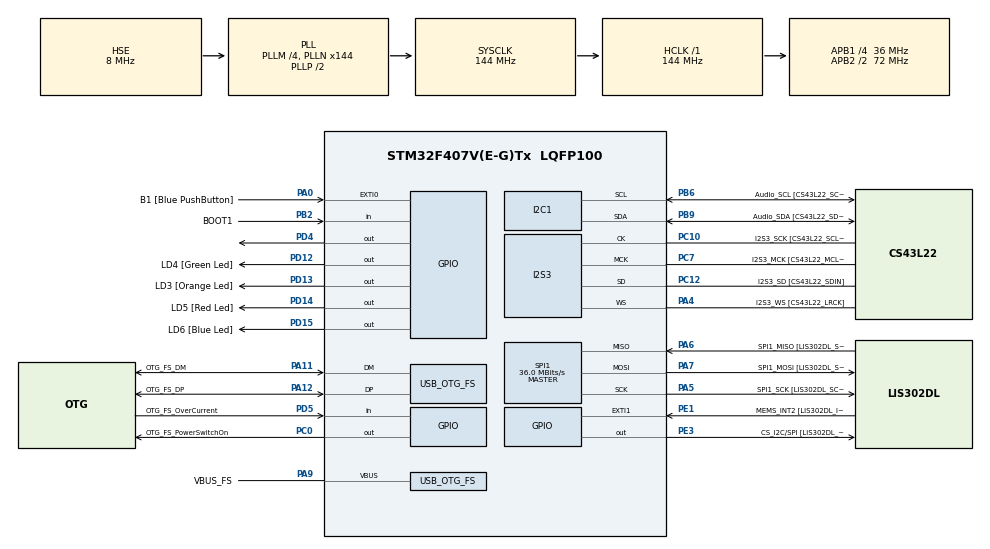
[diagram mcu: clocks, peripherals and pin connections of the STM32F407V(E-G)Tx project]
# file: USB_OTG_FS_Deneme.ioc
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Dma.Request0=SPI3_TX
Dma.SPI3_TX.0.Direction=DMA_MEMORY_TO_PERIPH
Dma.SPI3_TX.0.FIFOMode=DMA_FIFOMODE_ENABLE
Dma.SPI3_TX.0.FIFOThreshold=DMA_FIFO_THRESHOLD_FULL
Dma.SPI3_TX.0.Instance=DMA1_Stream5
Dma.SPI3_TX.0.MemBurst=DMA_MBURST_SINGLE
Dma.SPI3_TX.0.MemDataAlignment=DMA_MDATAALIGN_HALFWORD
Dma.SPI3_TX.0.MemInc=DMA_MINC_ENABLE
Dma.SPI3_TX.0.Mode=DMA_CIRCULAR
Dma.SPI3_TX.0.PeriphBurst=DMA_PBURST_SINGLE
Dma.SPI3_TX.0.PeriphDataAlignment=DMA_PDATAALIGN_HALFWORD
Dma.SPI3_TX.0.PeriphInc=DMA_PINC_DISABLE
Dma.SPI3_TX.0.Priority=DMA_PRIORITY_HIGH
I2S3.AudioFreq=I2S_AUDIOFREQ_48K
I2S3.AudioFreq-Half_Duplex_Master=I2S_AUDIOFREQ_96K
I2S3.ErrorAudioFreq=-0.01 %
I2S3.ErrorAudioFreq-Half_Duplex_Master=0.8 %
I2S3.FullDuplexMode=I2S_FULLDUPLEXMODE_DISABLE
I2S3.Instance=SPI$Index
I2S3.RealAudioFreq=47.991 KHz
I2S3.RealAudioFreq-Half_Duplex_Master=96.774 KHz
I2S3.VirtualMode=I2S_MODE_MASTER
Mcu.Family=STM32F4
Mcu.Name=STM32F407V(E-G)Tx
Mcu.Package=LQFP100
NVIC.DMA1_Stream5_IRQn=true\:0\:0\:false\:false\:true\:false\:true\:true
NVIC.OTG_FS_IRQn=true\:0\:0\:false\:false\:true\:true\:true\:true
NVIC.PriorityGroup=NVIC_PRIORITYGROUP_0
NVIC.SPI3_IRQn=true\:0\:0\:false\:false\:true\:true\:true\:true
PA0-WKUP.GPIO_Label=B1 [Blue PushButton]
PA0-WKUP.GPIO_ModeDefaultEXTI=GPIO_MODE_EVT_RISING
PA0-WKUP.GPIO_PuPd=GPIO_NOPULL
PA0-WKUP.Signal=GPXTI0
PA10.GPIO_Label=OTG_FS_ID
PA10.GPIO_Mode=GPIO_MODE_AF_PP
PA10.GPIO_PuPd=GPIO_NOPULL
PA10.GPIO_Speed=GPIO_SPEED_FREQ_LOW
PA10.Signal=USB_OTG_FS_ID
PA11.GPIO_Label=OTG_FS_DM
PA11.GPIO_Mode=GPIO_MODE_AF_PP
PA11.GPIO_PuPd=GPIO_NOPULL
PA11.GPIO_Speed=GPIO_SPEED_FREQ_LOW
PA11.Mode=Device_Only
PA11.Signal=USB_OTG_FS_DM
PA12.GPIO_Label=OTG_FS_DP
PA12.GPIO_Mode=GPIO_MODE_AF_PP
PA12.GPIO_PuPd=GPIO_NOPULL
PA12.GPIO_Speed=GPIO_SPEED_FREQ_LOW
PA12.Mode=Device_Only
PA12.Signal=USB_OTG_FS_DP
PA13.GPIO_Label=SWDIO
PA13.Mode=Serial_Wire
PA13.Signal=SYS_JTMS-SWDIO
PA14.GPIO_Label=SWCLK
PA14.Mode=Serial_Wire
PA14.Signal=SYS_JTCK-SWCLK
PA4.GPIO_Label=I2S3_WS [CS43L22_LRCK]
PA4.GPIO_Mode=GPIO_MODE_AF_PP
PA4.GPIO_PuPd=GPIO_NOPULL
PA4.GPIO_Speed=GPIO_SPEED_FREQ_LOW
PA4.Mode=Half_Duplex_Master
PA4.Signal=I2S3_WS
PA5.GPIO_Label=SPI1_SCK [LIS302DL_SCL/SPC]
PA5.GPIO_Mode=GPIO_MODE_AF_PP
PA5.GPIO_PuPd=GPIO_NOPULL
PA5.GPIO_Speed=GPIO_SPEED_FREQ_LOW
PA5.Mode=Full_Duplex_Master
PA5.Signal=SPI1_SCK
PA6.GPIO_Label=SPI1_MISO [LIS302DL_SDO]
PA6.GPIO_Mode=GPIO_MODE_AF_PP
PA6.GPIO_PuPd=GPIO_NOPULL
PA6.GPIO_Speed=GPIO_SPEED_FREQ_LOW
PA6.Mode=Full_Duplex_Master
PA6.Signal=SPI1_MISO
PA7.GPIO_Label=SPI1_MOSI [LIS302DL_SDA/SDI/SDO]
PA7.GPIO_Mode=GPIO_MODE_AF_PP
PA7.GPIO_PuPd=GPIO_NOPULL
PA7.GPIO_Speed=GPIO_SPEED_FREQ_LOW
PA7.Mode=Full_Duplex_Master
PA7.Signal=SPI1_MOSI
PA9.GPIO_Label=VBUS_FS
PA9.GPIO_Mode=GPIO_MODE_INPUT
PA9.GPIO_PuPd=GPIO_NOPULL
PA9.Mode=Activate_VBUS
PA9.Signal=USB_OTG_FS_VBUS
PB10.GPIO_Label=CLK_IN [MP45DT02_CLK]
PB10.GPIO_Mode=GPIO_MODE_AF_PP
PB10.GPIO_PuPd=GPIO_NOPULL
PB10.GPIO_Speed=GPIO_SPEED_FREQ_LOW
PB10.Signal=I2S2_CK
PB2.GPIO_Label=BOOT1
PB2.GPIO_Mode=GPIO_MODE_INPUT
PB2.GPIO_PuPd=GPIO_NOPULL
PB2.Signal=GPIO_Input
PB3.GPIO_Label=SWO
PB3.Signal=SYS_JTDO-SWO
PB6.GPIO_Label=Audio_SCL [CS43L22_SCL]
PB6.GPIO_Mode=GPIO_MODE_AF_OD
PB6.GPIO_Pu=GPIO_PULLUP
PB6.GPIO_PuPd=GPIO_NOPULL
PB6.GPIO_Speed=GPIO_SPEED_FREQ_LOW
PB6.Mode=I2C
PB6.Signal=I2C1_SCL
PB9.GPIO_Label=Audio_SDA [CS43L22_SDA]
PB9.GPIO_Mode=GPIO_MODE_AF_OD
PB9.GPIO_Pu=GPIO_PULLUP
PB9.GPIO_PuPd=GPIO_NOPULL
PB9.GPIO_Speed=GPIO_SPEED_FREQ_LOW
PB9.Mode=I2C
PB9.Signal=I2C1_SDA
PC0.GPIO_Label=OTG_FS_PowerSwitchOn
PC0.GPIO_PuPd=GPIO_NOPULL
PC0.GPIO_Speed=GPIO_SPEED_FREQ_LOW
PC0.PinState=GPIO_PIN_SET
PC0.Signal=GPIO_Output
PC10.GPIO_Label=I2S3_SCK [CS43L22_SCLK]
PC10.GPIO_Mode=GPIO_MODE_AF_PP
PC10.GPIO_PuPd=GPIO_NOPULL
PC10.GPIO_Speed=GPIO_SPEED_FREQ_LOW
PC10.Mode=Half_Duplex_Master
PC10.Signal=I2S3_CK
PC12.GPIO_Label=I2S3_SD [CS43L22_SDIN]
PC12.GPIO_Mode=GPIO_MODE_AF_PP
PC12.GPIO_PuPd=GPIO_NOPULL
PC12.GPIO_Speed=GPIO_SPEED_FREQ_LOW
PC12.Mode=Half_Duplex_Master
PC12.Signal=I2S3_SD
PC14-OSC32_IN.GPIO_Label=PC14-OSC32_IN
PC14-OSC32_IN.Mode=LSE-External-Oscillator
PC14-OSC32_IN.Signal=RCC_OSC32_IN
PC15-OSC32_OUT.GPIO_Label=PC15-OSC32_OUT
PC15-OSC32_OUT.Mode=LSE-External-Oscillator
PC15-OSC32_OUT.Signal=RCC_OSC32_OUT
PC3.GPIO_Label=PDM_OUT [MP45DT02_DOUT]
PC3.GPIO_Mode=GPIO_MODE_AF_PP
PC3.GPIO_PuPd=GPIO_NOPULL
PC3.GPIO_Speed=GPIO_SPEED_FREQ_LOW
PC3.Signal=I2S2_SD
PC7.GPIO_Label=I2S3_MCK [CS43L22_MCLK]
PC7.GPIO_Mode=GPIO_MODE_AF_PP
PC7.GPIO_PuPd=GPIO_NOPULL
PC7.GPIO_Speed=GPIO_SPEED_FREQ_LOW
PC7.Mode=Master_Clock_Activated
PC7.Signal=I2S3_MCK
PD12.GPIO_Label=LD4 [Green Led]
PD12.GPIO_PuPd=GPIO_NOPULL
PD12.GPIO_Speed=GPIO_SPEED_FREQ_LOW
PD12.Signal=GPIO_Output
PD13.GPIO_Label=LD3 [Orange Led]
PD13.GPIO_PuPd=GPIO_NOPULL
PD13.GPIO_Speed=GPIO_SPEED_FREQ_LOW
PD13.Signal=GPIO_Output
PD14.GPIO_Label=LD5 [Red Led]
PD14.GPIO_PuPd=GPIO_NOPULL
PD14.GPIO_Speed=GPIO_SPEED_FREQ_LOW
PD14.Signal=GPIO_Output
PD15.GPIO_Label=LD6 [Blue Led]
PD15.GPIO_PuPd=GPIO_NOPULL
PD15.GPIO_Speed=GPIO_SPEED_FREQ_LOW
PD15.Signal=GPIO_Output
PD4.Signal=GPIO_Output
PD5.GPIO_Label=OTG_FS_OverCurrent
PD5.GPIO_Mode=GPIO_MODE_INPUT
PD5.GPIO_PuPd=GPIO_NOPULL
PD5.Signal=GPIO_Input
PE1.GPIO_Label=MEMS_INT2 [LIS302DL_INT2]
PE1.GPIO_ModeDefaultEXTI=GPIO_MODE_EVT_RISING
PE1.GPIO_PuPd=GPIO_NOPULL
PE1.Signal=GPXTI1
PE3.GPIO_Label=CS_I2C/SPI [LIS302DL_CS_I2C/SPI]
PE3.GPIO_PuPd=GPIO_NOPULL
PE3.GPIO_Speed=GPIO_SPEED_FREQ_LOW
PE3.Signal=GPIO_Output
PH0-OSC_IN.GPIO_Label=PH0-OSC_IN
PH0-OSC_IN.Mode=HSE-External-Oscillator
PH0-OSC_IN.Signal=RCC_OSC_IN
PH1-OSC_OUT.GPIO_Label=PH1-OSC_OUT
PH1-OSC_OUT.Mode=HSE-External-Oscillator
PH1-OSC_OUT.Signal=RCC_OSC_OUT
ProjectManager.HeapSize=0x200
ProjectManager.StackSize=0x400
ProjectManager.TargetToolchain=STM32CubeIDE
RCC.48MHZClocksFreq_Value=48000000
RCC.AHBFreq_Value=144000000
RCC.APB1CLKDivider=RCC_HCLK_DIV4
RCC.APB1Freq_Value=36000000
RCC.APB1TimFreq_Value=72000000
RCC.APB2CLKDivider=RCC_HCLK_DIV2
RCC.APB2Freq_Value=72000000
RCC.APB2TimFreq_Value=144000000
RCC.CortexFreq_Value=144000000
RCC.HCLKFreq_Value=144000000
RCC.HSE_VALUE=8000000
RCC.HSI_VALUE=16000000
RCC.PLLI2SN=129
RCC.PLLI2SR=3
RCC.PLLM=4
RCC.PLLN=144
RCC.PLLQ=6
RCC.SYSCLKFreq_VALUE=144000000
RCC.SYSCLKSource=RCC_SYSCLKSOURCE_PLLCLK
RCC.VCOOutputFreq_Value=288000000
SPI1.BaudRatePrescaler-Full_Duplex_Master=SPI_BAUDRATEPRESCALER_2
SPI1.CalculateBaudRate=36.0 MBits/s
SPI1.CalculateBaudRate-Full_Duplex_Master=42.0 MBits/s
SPI1.Direction=SPI_DIRECTION_2LINES
SPI1.Mode=SPI_MODE_MASTER
SPI1.Mode-Full_Duplex_Master=SPI_MODE_MASTER
SPI1.VirtualType=VM_MASTER
USB_DEVICE.CLASS_NAME_FS=AUDIO
USB_DEVICE.USBD_AUDIO_FREQ-AUDIO_FS=48000
USB_DEVICE.VirtualMode-AUDIO_FS=Audio
USB_DEVICE.VirtualModeFS=Audio_FS
USB_OTG_FS.VirtualMode=Device_Only
VP_USB_DEVICE_VS_USB_DEVICE_AUDIO_FS.Mode=AUDIO_FS
board=STM32F407G-DISC1

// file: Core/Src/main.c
/* USER CODE BEGIN Header */
/**
  ******************************************************************************
  * @file           : main.c
  * @brief          : Main program body
  ******************************************************************************
  * @attention
  *
  * Copyright (c) 2026 STMicroelectronics.
  * All rights reserved.
  *
  * This software is licensed under terms that can be found in the LICENSE file
  * in the root directory of this software component.
  * If no LICENSE file comes with this software, it is provided AS-IS.
  *
  ******************************************************************************
  */
/* USER CODE END Header */
#include "main.h"
#include "usb_device.h"

I2C_HandleTypeDef hi2c1;

I2S_HandleTypeDef hi2s3;
DMA_HandleTypeDef hdma_spi3_tx;

SPI_HandleTypeDef hspi1;

void SystemClock_Config(void);
static void MX_GPIO_Init(void);
static void MX_DMA_Init(void);
static void MX_I2C1_Init(void);
static void MX_I2S3_Init(void);
static void MX_SPI1_Init(void);

int main(void)
{

  /* MCU Configuration--------------------------------------------------------*/

  /* Reset of all peripherals, Initializes the Flash interface and the Systick. */
  HAL_Init();

  /* Configure the system clock */
  SystemClock_Config();

  /* Initialize all configured peripherals */
  MX_GPIO_Init();
  MX_DMA_Init();
  MX_I2C1_Init();
  MX_I2S3_Init();
  MX_SPI1_Init();
  MX_USB_DEVICE_Init();
  /* USER CODE BEGIN 2 */
  HAL_GPIO_WritePin(GPIOD, GPIO_PIN_4, GPIO_PIN_SET);
  HAL_Delay(100); // Çipin iç devrelerinin kararlı hale gelmesi için bekleme süresini artırdık

  // 2. I2C Komut Dizisi Hazırlığı
  // CS43L22'nin 8-bit yazma adresi 0x94'tür.
  uint8_t init_cmd[2];

  // A. Çipi "Power ON" moduna getir (Register 0x02, Value 0x9E)
  init_cmd[0] = 0x02;
  init_cmd[1] = 0x9E;
  HAL_I2C_Master_Transmit(&hi2c1, 0x94, init_cmd, 2, 100);
  HAL_Delay(10); // Komutlar arası kısa bir stabilizasyon beklemesi

  // B. Kulaklığı aç, Hoparlörü kapat (Register 0x04, Value 0xAF)
  init_cmd[0] = 0x04;
  init_cmd[1] = 0xAF;
  HAL_I2C_Master_Transmit(&hi2c1, 0x94, init_cmd, 2, 100);

  // C. Ses Seviyesini Ayarla (Sol ve Sağ Kulaklık kanalları)
  // Değer Aralığı: 0 (En Yüksek) - 255 (En Düşük/Sessiz)
  // Güvenli başlangıç değeri olarak 150 seçilmiştir.
  uint8_t vol_level = 200;

  // Sol Kanal (Register 0x22)
  init_cmd[0] = 0x22;
  init_cmd[1] = vol_level;
  HAL_I2C_Master_Transmit(&hi2c1, 0x94, init_cmd, 2, 100);

  // Sağ Kanal (Register 0x23)
  init_cmd[0] = 0x23;
  init_cmd[1] = vol_level;
  HAL_I2C_Master_Transmit(&hi2c1, 0x94, init_cmd, 2, 100);
  /* USER CODE END 2 */

  /* Infinite loop */
  while (1)
  {

  }
}

void SystemClock_Config(void)
{
  RCC_OscInitTypeDef RCC_OscInitStruct = {0};
  RCC_ClkInitTypeDef RCC_ClkInitStruct = {0};

  /** Configure the main internal regulator output voltage
  */
  __HAL_RCC_PWR_CLK_ENABLE();
  __HAL_PWR_VOLTAGESCALING_CONFIG(PWR_REGULATOR_VOLTAGE_SCALE1);

  /** Initializes the RCC Oscillators according to the specified parameters
  * in the RCC_OscInitTypeDef structure.
  */
  RCC_OscInitStruct.OscillatorType = RCC_OSCILLATORTYPE_HSE;
  RCC_OscInitStruct.HSEState = RCC_HSE_ON;
  RCC_OscInitStruct.PLL.PLLState = RCC_PLL_ON;
  RCC_OscInitStruct.PLL.PLLSource = RCC_PLLSOURCE_HSE;
  RCC_OscInitStruct.PLL.PLLM = 4;
  RCC_OscInitStruct.PLL.PLLN = 144;
  RCC_OscInitStruct.PLL.PLLP = RCC_PLLP_DIV2;
  RCC_OscInitStruct.PLL.PLLQ = 6;
  if (HAL_RCC_OscConfig(&RCC_OscInitStruct) != HAL_OK)
  {
    Error_Handler();
  }

  /** Initializes the CPU, AHB and APB buses clocks
  */
  RCC_ClkInitStruct.ClockType = RCC_CLOCKTYPE_HCLK|RCC_CLOCKTYPE_SYSCLK
                              |RCC_CLOCKTYPE_PCLK1|RCC_CLOCKTYPE_PCLK2;
  RCC_ClkInitStruct.SYSCLKSource = RCC_SYSCLKSOURCE_PLLCLK;
  RCC_ClkInitStruct.AHBCLKDivider = RCC_SYSCLK_DIV1;
  RCC_ClkInitStruct.APB1CLKDivider = RCC_HCLK_DIV4;
  RCC_ClkInitStruct.APB2CLKDivider = RCC_HCLK_DIV2;

  if (HAL_RCC_ClockConfig(&RCC_ClkInitStruct, FLASH_LATENCY_4) != HAL_OK)
  {
    Error_Handler();
  }
}

static void MX_I2C1_Init(void)
{

  hi2c1.Instance = I2C1;
  hi2c1.Init.ClockSpeed = 100000;
  hi2c1.Init.DutyCycle = I2C_DUTYCYCLE_2;
  hi2c1.Init.OwnAddress1 = 0;
  hi2c1.Init.AddressingMode = I2C_ADDRESSINGMODE_7BIT;
  hi2c1.Init.DualAddressMode = I2C_DUALADDRESS_DISABLE;
  hi2c1.Init.OwnAddress2 = 0;
  hi2c1.Init.GeneralCallMode = I2C_GENERALCALL_DISABLE;
  hi2c1.Init.NoStretchMode = I2C_NOSTRETCH_DISABLE;
  if (HAL_I2C_Init(&hi2c1) != HAL_OK)
  {
    Error_Handler();
  }

}

static void MX_I2S3_Init(void)
{

  hi2s3.Instance = SPI3;
  hi2s3.Init.Mode = I2S_MODE_MASTER_TX;
  hi2s3.Init.Standard = I2S_STANDARD_PHILIPS;
  hi2s3.Init.DataFormat = I2S_DATAFORMAT_16B;
  hi2s3.Init.MCLKOutput = I2S_MCLKOUTPUT_ENABLE;
  hi2s3.Init.AudioFreq = I2S_AUDIOFREQ_48K;
  hi2s3.Init.CPOL = I2S_CPOL_LOW;
  hi2s3.Init.ClockSource = I2S_CLOCK_PLL;
  hi2s3.Init.FullDuplexMode = I2S_FULLDUPLEXMODE_DISABLE;
  if (HAL_I2S_Init(&hi2s3) != HAL_OK)
  {
    Error_Handler();
  }

}

static void MX_SPI1_Init(void)
{

  /* SPI1 parameter configuration*/
  hspi1.Instance = SPI1;
  hspi1.Init.Mode = SPI_MODE_MASTER;
  hspi1.Init.Direction = SPI_DIRECTION_2LINES;
  hspi1.Init.DataSize = SPI_DATASIZE_8BIT;
  hspi1.Init.CLKPolarity = SPI_POLARITY_LOW;
  hspi1.Init.CLKPhase = SPI_PHASE_1EDGE;
  hspi1.Init.NSS = SPI_NSS_SOFT;
  hspi1.Init.BaudRatePrescaler = SPI_BAUDRATEPRESCALER_2;
  hspi1.Init.FirstBit = SPI_FIRSTBIT_MSB;
  hspi1.Init.TIMode = SPI_TIMODE_DISABLE;
  hspi1.Init.CRCCalculation = SPI_CRCCALCULATION_DISABLE;
  hspi1.Init.CRCPolynomial = 10;
  if (HAL_SPI_Init(&hspi1) != HAL_OK)
  {
    Error_Handler();
  }

}

static void MX_DMA_Init(void)
{

  /* DMA controller clock enable */
  __HAL_RCC_DMA1_CLK_ENABLE();

  /* DMA interrupt init */
  /* DMA1_Stream5_IRQn interrupt configuration */
  HAL_NVIC_SetPriority(DMA1_Stream5_IRQn, 0, 0);
  HAL_NVIC_EnableIRQ(DMA1_Stream5_IRQn);

}

static void MX_GPIO_Init(void)
{
  GPIO_InitTypeDef GPIO_InitStruct = {0};

  /* GPIO Ports Clock Enable */
  __HAL_RCC_GPIOE_CLK_ENABLE();
  __HAL_RCC_GPIOC_CLK_ENABLE();
  __HAL_RCC_GPIOH_CLK_ENABLE();
  __HAL_RCC_GPIOA_CLK_ENABLE();
  __HAL_RCC_GPIOB_CLK_ENABLE();
  __HAL_RCC_GPIOD_CLK_ENABLE();

  /*Configure GPIO pin Output Level */
  HAL_GPIO_WritePin(CS_I2C_SPI_GPIO_Port, CS_I2C_SPI_Pin, GPIO_PIN_RESET);

  /*Configure GPIO pin Output Level */
  HAL_GPIO_WritePin(OTG_FS_PowerSwitchOn_GPIO_Port, OTG_FS_PowerSwitchOn_Pin, GPIO_PIN_SET);

  /*Configure GPIO pin Output Level */
  HAL_GPIO_WritePin(GPIOD, LD4_Pin|LD3_Pin|LD5_Pin|LD6_Pin
                          |GPIO_PIN_4, GPIO_PIN_RESET);

  /*Configure GPIO pin : CS_I2C_SPI_Pin */
  GPIO_InitStruct.Pin = CS_I2C_SPI_Pin;
  GPIO_InitStruct.Mode = GPIO_MODE_OUTPUT_PP;
  GPIO_InitStruct.Pull = GPIO_NOPULL;
  GPIO_InitStruct.Speed = GPIO_SPEED_FREQ_LOW;
  HAL_GPIO_Init(CS_I2C_SPI_GPIO_Port, &GPIO_InitStruct);

  /*Configure GPIO pin : OTG_FS_PowerSwitchOn_Pin */
  GPIO_InitStruct.Pin = OTG_FS_PowerSwitchOn_Pin;
  GPIO_InitStruct.Mode = GPIO_MODE_OUTPUT_PP;
  GPIO_InitStruct.Pull = GPIO_NOPULL;
  GPIO_InitStruct.Speed = GPIO_SPEED_FREQ_LOW;
  HAL_GPIO_Init(OTG_FS_PowerSwitchOn_GPIO_Port, &GPIO_InitStruct);

  /*Configure GPIO pin : PDM_OUT_Pin */
  GPIO_InitStruct.Pin = PDM_OUT_Pin;
  GPIO_InitStruct.Mode = GPIO_MODE_AF_PP;
  GPIO_InitStruct.Pull = GPIO_NOPULL;
  GPIO_InitStruct.Speed = GPIO_SPEED_FREQ_LOW;
  GPIO_InitStruct.Alternate = GPIO_AF5_SPI2;
  HAL_GPIO_Init(PDM_OUT_GPIO_Port, &GPIO_InitStruct);

  /*Configure GPIO pin : B1_Pin */
  GPIO_InitStruct.Pin = B1_Pin;
  GPIO_InitStruct.Mode = GPIO_MODE_EVT_RISING;
  GPIO_InitStruct.Pull = GPIO_NOPULL;
  HAL_GPIO_Init(B1_GPIO_Port, &GPIO_InitStruct);

  /*Configure GPIO pin : BOOT1_Pin */
  GPIO_InitStruct.Pin = BOOT1_Pin;
  GPIO_InitStruct.Mode = GPIO_MODE_INPUT;
  GPIO_InitStruct.Pull = GPIO_NOPULL;
  HAL_GPIO_Init(BOOT1_GPIO_Port, &GPIO_InitStruct);

  /*Configure GPIO pin : CLK_IN_Pin */
  GPIO_InitStruct.Pin = CLK_IN_Pin;
  GPIO_InitStruct.Mode = GPIO_MODE_AF_PP;
  GPIO_InitStruct.Pull = GPIO_NOPULL;
  GPIO_InitStruct.Speed = GPIO_SPEED_FREQ_LOW;
  GPIO_InitStruct.Alternate = GPIO_AF5_SPI2;
  HAL_GPIO_Init(CLK_IN_GPIO_Port, &GPIO_InitStruct);

  /*Configure GPIO pins : LD4_Pin LD3_Pin LD5_Pin LD6_Pin
                           PD4 */
  GPIO_InitStruct.Pin = LD4_Pin|LD3_Pin|LD5_Pin|LD6_Pin
                          |GPIO_PIN_4;
  GPIO_InitStruct.Mode = GPIO_MODE_OUTPUT_PP;
  GPIO_InitStruct.Pull = GPIO_NOPULL;
  GPIO_InitStruct.Speed = GPIO_SPEED_FREQ_LOW;
  HAL_GPIO_Init(GPIOD, &GPIO_InitStruct);

  /*Configure GPIO pin : OTG_FS_OverCurrent_Pin */
  GPIO_InitStruct.Pin = OTG_FS_OverCurrent_Pin;
  GPIO_InitStruct.Mode = GPIO_MODE_INPUT;
  GPIO_InitStruct.Pull = GPIO_NOPULL;
  HAL_GPIO_Init(OTG_FS_OverCurrent_GPIO_Port, &GPIO_InitStruct);

  /*Configure GPIO pin : MEMS_INT2_Pin */
  GPIO_InitStruct.Pin = MEMS_INT2_Pin;
  GPIO_InitStruct.Mode = GPIO_MODE_EVT_RISING;
  GPIO_InitStruct.Pull = GPIO_NOPULL;
  HAL_GPIO_Init(MEMS_INT2_GPIO_Port, &GPIO_InitStruct);

}

void Error_Handler(void)
{
  __disable_irq();
  while (1)
  {
  }
}
